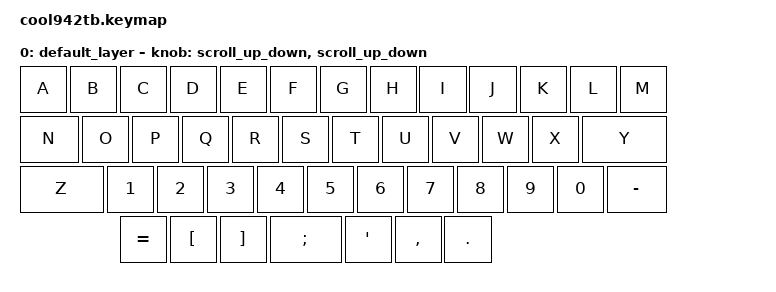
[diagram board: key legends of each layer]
#include <behaviors.dtsi>
#include <dt-bindings/zmk/keys.h>
#include <dt-bindings/zmk/pointing.h>

/ {
    behaviors {
        scroll_up_down: behavior_sensor_rotate_mouse_wheel_up_down {
            compatible = "zmk,behavior-sensor-rotate";
            #sensor-binding-cells = <0>;
            bindings = <&msc SCRL_UP>, <&msc SCRL_DOWN>;
            tap-ms = <20>;
        };
    };

    keymap {
        compatible = "zmk,keymap";

        default_layer {
            bindings = <
&kp A  &kp B  &kp C  &kp D  &kp E  &kp F  &kp G  &kp H  &kp I  &kp J  &kp K
&kp L  &kp M  &kp N  &kp O  &kp P  &kp Q  &kp R  &kp S  &kp T  &kp U  &kp V
&kp W  &kp X  &kp Y  &kp Z  &kp N1 &kp N2 &kp N3 &kp N4 &kp N5 &kp N6 &kp N7
&kp N8 &kp N9 &kp N0 &kp MINUS &kp EQUAL &kp LEFT_BRACKET &kp RIGHT_BRACKET &kp SEMICOLON &kp SQT &kp COMMA &kp PERIOD
            >;

            sensor-bindings = <&scroll_up_down &scroll_up_down>;
        };
    };
};
